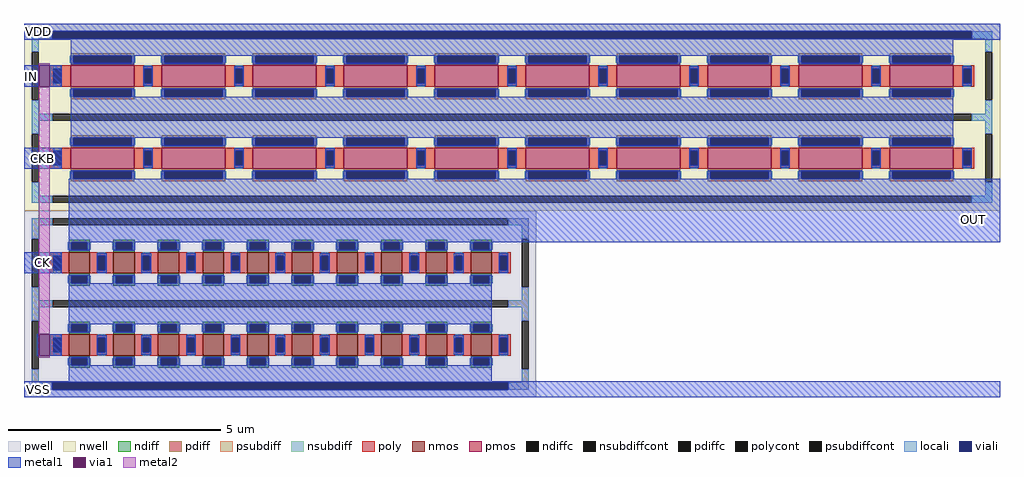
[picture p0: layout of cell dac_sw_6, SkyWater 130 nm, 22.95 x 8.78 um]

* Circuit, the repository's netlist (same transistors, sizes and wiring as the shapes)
** sch_path: /home/mthudaa/vlsi/8bit_SAR-ADC_ITS/xschem/dac_sw_6.sch
.subckt dac_sw_6 vdd in ck ckb vss out
*.PININFO vdd:I in:I ck:I ckb:I vss:I out:O
XM1 net1 in vdd vdd sky130_fd_pr__pfet_01v8 L=0.5 W=1.5 nf=1 m=10
XM2 out ckb net1 vdd sky130_fd_pr__pfet_01v8 L=0.5 W=1.5 nf=1 m=10
XM3 out ck net2 vss sky130_fd_pr__nfet_01v8 L=0.5 W=0.5 nf=1 m=10
XM4 net2 in vss vss sky130_fd_pr__nfet_01v8 L=0.5 W=0.5 nf=1 m=10
.ends
.end

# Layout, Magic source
magic
tech sky130A
magscale 1 2
<< viali >>
rect 238 1527 4564 1561
rect 238 -123 2384 -89
<< metal1 >>
rect 106 1561 4696 1597
rect 106 1527 238 1561
rect 4564 1527 4696 1561
rect 106 1521 4696 1527
rect 325 1447 4477 1521
rect 106 1301 176 1401
rect 228 1301 284 1401
rect 325 1061 4477 1255
rect 106 915 284 1015
rect 316 569 4696 869
rect 106 423 284 523
rect 316 183 2306 377
rect 166 37 176 137
rect 228 37 284 137
rect 316 -83 2306 -9
rect 106 -89 4696 -83
rect 106 -123 238 -89
rect 2384 -123 4696 -89
rect 106 -159 4696 -123
<< via1 >>
rect 176 1301 228 1401
rect 176 37 228 137
<< metal2 >>
rect 176 1401 228 1411
rect 176 137 228 1301
rect 176 27 228 37
use sky130_fd_pr__nfet_01v8_55NS9E  sky130_fd_pr__nfet_01v8_55NS9E_0
transform 0 1 1311 -1 0 87
box -246 -1205 246 1205
use sky130_fd_pr__pfet_01v8_D9QZ56  sky130_fd_pr__pfet_01v8_D9QZ56_0
transform 0 1 2401 -1 0 965
box -246 -2295 246 2295
use sky130_fd_pr__pfet_01v8_D9QZ56  XM1
transform 0 1 2401 -1 0 1351
box -246 -2295 246 2295
use sky130_fd_pr__nfet_01v8_55NS9E  XM3
transform 0 1 1311 -1 0 473
box -246 -1205 246 1205
<< labels >>
flabel metal1 106 1521 238 1597 0 FreeSans 400 0 0 0 VDD
port 0 nsew
flabel metal1 106 1301 176 1401 0 FreeSans 400 0 0 0 IN
port 1 nsew
flabel metal1 106 915 284 1015 0 FreeSans 400 0 0 0 CKB
port 2 nsew
flabel metal1 106 423 284 523 0 FreeSans 400 0 0 0 CK
port 3 nsew
flabel metal1 106 -159 238 -83 0 FreeSans 400 0 0 0 VSS
port 4 nsew
flabel metal1 4514 655 4628 703 0 FreeSans 400 0 0 0 OUT
port 6 nsew
<< end >>

# cell sky130_fd_pr__nfet_01v8_55NS9E: kit device sky130_fd_pr__nfet_01v8, w 0.5 l 0.5 m 10 nf 1 diffcov 100 polycov 100 guard 1 glc 1 grc 1 gtc 1 gbc 1 tbcov 100 rlcov 100 topc 0 botc 0 poverlap 1 doverlap 1 lmin 0.15 wmin 0.42 compatible {sky130_fd_pr__nfet_01v8 sky130_fd_pr__nfet_01v8_lvt sky130_fd_bs_flash__special_sonosfet_star sky130_fd_pr__nfet_g5v0d10v5 sky130_fd_pr__nfet_05v0_nvt sky130_fd_pr__nfet_03v3_nvt} full_metal 1 viasrc 100 viadrn 100 viagate 100 viagb 0 viagr 0 viagl 0 viagt 0

# cell sky130_fd_pr__pfet_01v8_D9QZ56: kit device sky130_fd_pr__pfet_01v8, w 1.5 l 0.5 m 10 nf 1 diffcov 100 polycov 100 guard 1 glc 1 grc 1 gtc 1 gbc 1 tbcov 100 rlcov 100 topc 0 botc 0 poverlap 1 doverlap 1 lmin 0.15 wmin 0.42 compatible {sky130_fd_pr__pfet_01v8 sky130_fd_pr__pfet_01v8_lvt sky130_fd_pr__pfet_01v8_hvt sky130_fd_pr__pfet_g5v0d10v5} full_metal 1 viasrc 100 viadrn 100 viagate 100 viagb 0 viagr 0 viagl 0 viagt 0
